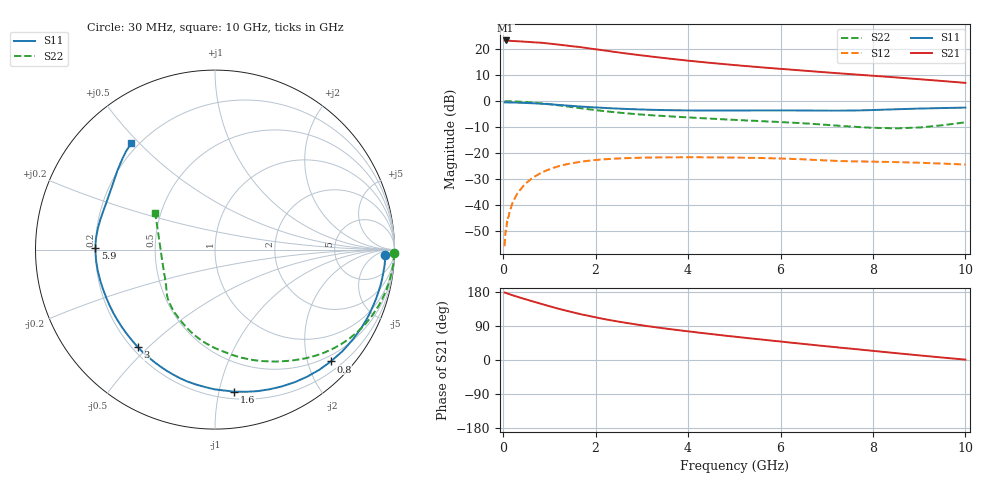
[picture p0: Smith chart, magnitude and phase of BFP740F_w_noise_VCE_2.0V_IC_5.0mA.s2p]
! Infineon Technologies  Discrete & RF Semiconductors
! BFP740F
! VCE =  2.0 V,  IC =  5.0 mA
! Common Emitter S-Parameters:  Oct 2012
# GHz  S  MA  R  50
!  f  S11  S21  S12  S22
! GHz  MAG  ANG  MAG  ANG  MAG  ANG  MAG  ANG
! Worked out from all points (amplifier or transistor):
!   99 points, 30 MHz to 10 GHz, reference 50 ohm
!   highest |S21| = 23.4 dB at 50 MHz (marker M1)
!   |S21| within 3 dB of that: start of sweep to 1.834 GHz
!   unconditionally stable (mu >= 1): 7.578 GHz to end of sweep
!   at 350 MHz: K = 0.03, MSG = 28.9 dB, |S12| = -34.6 dB
!   at 3.5 GHz: K = 0.33, MSG = 19.1 dB, |S12| = -21.7 dB
!   at 10 GHz: K = 1.29, MAG = 12.5 dB, |S12| = -24.4 dB
!   lowest NFmin = 0.37 dB at 450 MHz
!   S11 on the Smith chart (normalised r, x): 30 MHz: 29, -17; 800 MHz: 0.38, -2.42; 1.6 GHz: 0.25, -1.11; 3 GHz: 0.22, -0.46; 5.9 GHz: 0.20, +0.01; 10 GHz: 0.17, +0.47
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0.03  0.9493 -1.7  14.74 177.9  0.0016 95.9  0.9982 -1.1
0.05  0.9491 -2.8  14.88 177.3  0.0032 80.7  0.9983 -2.0
0.2  0.9442 -11.3  14.5 170.9  0.0109 84.1  0.9916 -7.8
0.4  0.9323 -22.4  14.21 163.3  0.0213 76.7  0.9742 -15.4
0.6  0.9168 -33.2  13.84 156.0  0.0314 69.7  0.9494 -22.8
0.8  0.8973 -44.0  13.51 148.9  0.0405 63.3  0.917 -30.0
1  0.8745 -54.1  12.95 141.9  0.0487 57.1  0.8776 -37.0
1.2  0.8486 -63.9  12.36 135.2  0.0557 51.1  0.8343 -43.7
1.6  0.7986 -82.3  11.26 123.1  0.0662 40.9  0.7486 -55.8
1.7  0.7862 -86.5  10.97 120.2  0.0683 38.5  0.7281 -58.6
2.1  0.7508 -101.9  9.793 110.0  0.0748 30.2  0.6579 -69.8
2.3  0.7342 -108.6  9.25 105.4  0.0769 26.5  0.6281 -74.7
2.6  0.7138 -117.5  8.485 99.2  0.0794 21.7  0.592 -81.2
3  0.693 -128.4  7.654 91.6  0.0816 16.3  0.5528 -89.0
3.4  0.6777 -137.8  6.941 84.8  0.0826 11.7  0.5236 -95.7
3.8  0.6687 -146.3  6.336 78.6  0.0829 7.6  0.4993 -101.2
4.3  0.6628 -155.8  5.705 71.2  0.0829 3.0  0.471 -107.8
5.1  0.6636 -169.4  4.905 60.3  0.0815 -3.2  0.4321 -117.8
5.9  0.6659 179.1  4.284 50.0  0.0789 -8.7  0.4007 -127.5
6.7  0.6608 166.8  3.774 39.9  0.074 -13.3  0.365 -137.2
8.5  0.7001 140.9  2.878 18.1  0.067 -16.7  0.3001 -172.4
10  0.7534 128.3  2.26 1.0  0.0601 -19.5  0.3918 148.4
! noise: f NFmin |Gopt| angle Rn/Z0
0.45  0.37  0.38  7  0.2
0.9  0.42  0.38  14  0.17
1.5  0.5  0.37  24  0.14
1.9  0.55  0.35  33  0.14
2.4  0.61  0.33  42  0.13
3.5  0.76  0.31  65  0.12
5.5  1.02  0.2  113  0.15
10  1.55  0.42  -127  0.08
